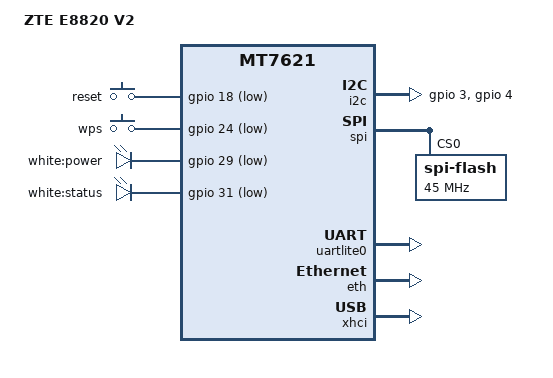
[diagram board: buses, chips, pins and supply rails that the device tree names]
// SPDX-License-Identifier: GPL-2.0+

/dts-v1/;
#include "mt7621.dtsi"

#include <dt-bindings/gpio/gpio.h>
#include <dt-bindings/input/input.h>

/ {
	model = "ZTE E8820 V2";
	compatible = "zte,e8820-v2", "mediatek,mt7621-soc";

	aliases {
		spi0 = &spi;
	};

	chosen {
		stdout-path = &uartlite0;
	};

	config {
		reset-button = "reset";
		wps-button = "wps";
		status1-led = "white:status";
	};

	keys {
		compatible = "gpio-keys";

		reset {
			label = "reset";
			gpios = <&gpio 18 GPIO_ACTIVE_LOW>;
			linux,code = <KEY_RESTART>;
		};

		wps {
			label = "wps";
			gpios = <&gpio 24 GPIO_ACTIVE_LOW>;
			linux,code = <KEY_RESTART>;
		};
	};

	leds {
		compatible = "gpio-leds";

		power {
			label = "white:power";
			gpios = <&gpio 29 GPIO_ACTIVE_LOW>;
			default-state = "on";
		};

		status {
			label = "white:status";
			gpios = <&gpio 31 GPIO_ACTIVE_LOW>;
			default-state = "on";
		};
	};
};

&pinctrl {
	state_default: pinmux_conf {
		spi {
			groups = "spi";
			function = "spi";
		};

		sdhci {
			groups = "sdhci";
			function = "gpio";
		};

		jtag {
			groups = "jtag";
			function = "gpio";
		};

		wdt {
			groups = "wdt";
			function = "gpio";
		};

		rgmii2 {
			groups = "rgmii2";
			function = "gpio";
		};
	};
};

&gpio {
	status = "okay";
};

&i2c {
	gpios = <&gpio 3 1>, /* PIN3 as SDA */
		<&gpio 4 1>; /* PIN4 as CLK */
};

&spi {
	status = "okay";

	spi-max-frequency = <45000000>;

	spi-flash@0 {
		#address-cells = <1>;
		#size-cells = <1>;
		compatible = "spi-flash";
		spi-max-frequency = <45000000>;
		reg = <0>;
	};
};

&uartlite0 {
	status = "okay";
};

&eth {
	status = "okay";
};

&xhci {
	status = "okay";
};
